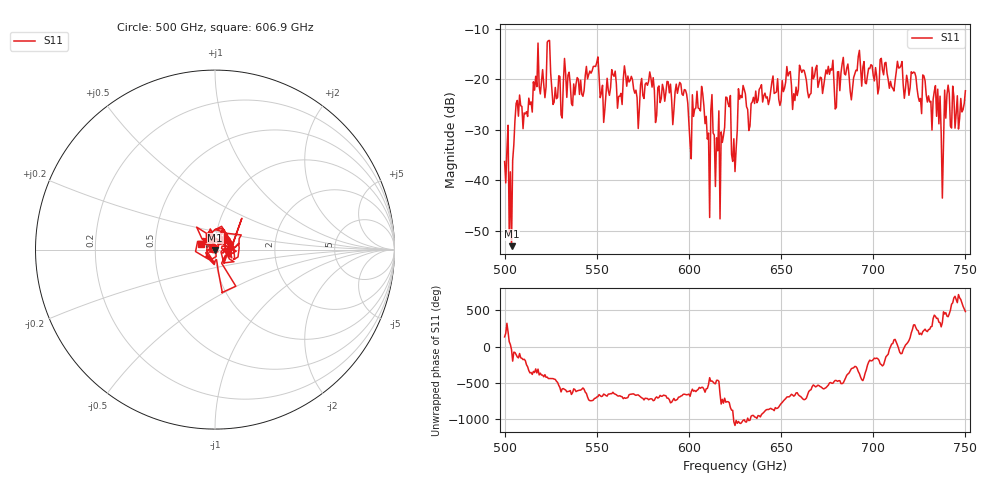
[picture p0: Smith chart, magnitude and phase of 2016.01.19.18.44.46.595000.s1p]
!Created with skrf (http://scikit-rf.org).
# GHz S RI R 50.0
!freq ReS11 ImS11
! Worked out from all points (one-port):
!   401 points, 500 GHz to 750 GHz, reference 50 ohm
!   lowest |S11| = -53.1 dB at 503.8 GHz (marker M1), VSWR 1.00, Z = 50.2 - j0.148 ohm
!   |S11| at or under -10 dB: start of sweep to end of sweep
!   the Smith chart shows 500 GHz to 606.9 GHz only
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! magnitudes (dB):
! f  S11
! 500 GHz  -36.3
! 503.8 GHz  -53.1
! 507.5 GHz  -27.3
! 511.2 GHz  -26.8
! 523.8 GHz  -12.3
! 526.9 GHz  -24.5
! 531.2 GHz  -27.7
! 549.4 GHz  -17.4
! 553.1 GHz  -21.2
! 559.4 GHz  -19.4
! 562.5 GHz  -23.3
! 565.6 GHz  -18.9
! 593.8 GHz  -22.8
! 601.2 GHz  -35.7
! 608.1 GHz  -25.2
! 610 GHz  -31.8
! 613.1 GHz  -30.6
! 615.6 GHz  -34.2
! 621.2 GHz  -24.8
! 625 GHz  -38.3
! 628.1 GHz  -23.2
! 656.2 GHz  -26.0
! 687.5 GHz  -22.3
! 718.8 GHz  -20.5
! 733.8 GHz  -21.2
! 736.9 GHz  -30.7
! 740 GHz  -23.0
! 750 GHz  -22.2
